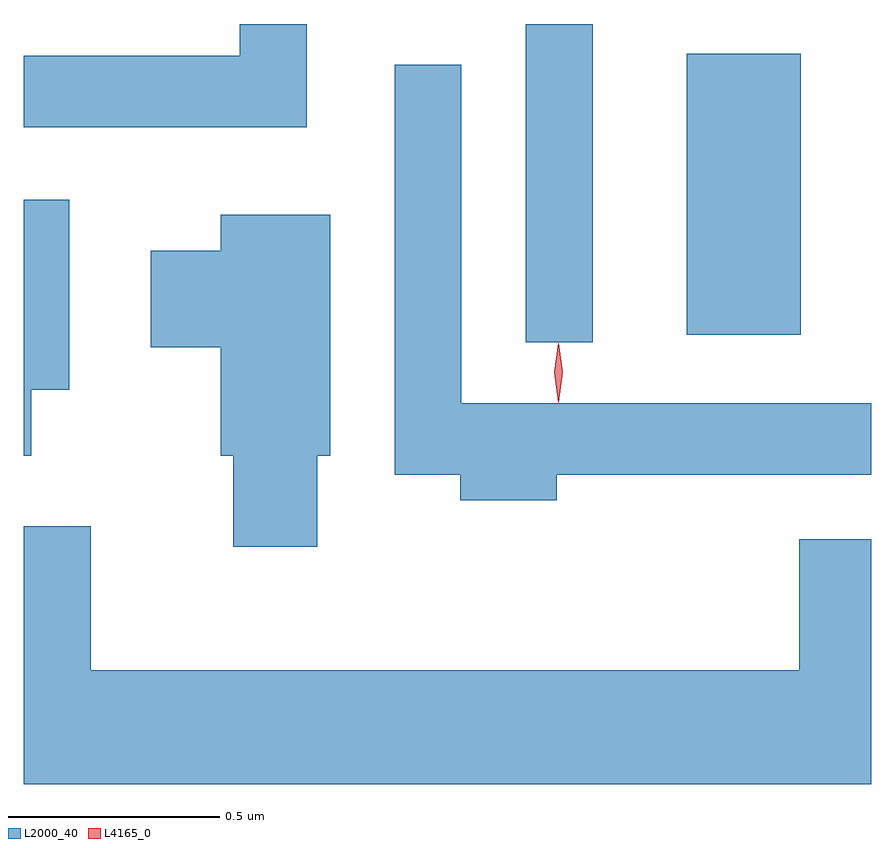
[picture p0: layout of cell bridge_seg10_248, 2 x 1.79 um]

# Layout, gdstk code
import gdstk
lib = gdstk.Library(unit=1e-6, precision=1e-09)
def R(c, l, rs):  # rectangles x0, y0, x1, y1
    for r in rs: c.add(gdstk.rectangle(r[:2], r[2:], *l))
def P(c, l, *ps):  # polygons
    for p in ps: c.add(gdstk.Polygon(p, *l))
L2000_40 = (2000, 40)
L4165_0 = (4165, 0)

bridge_seg10_248 = lib.new_cell('bridge_seg10_248')
R(bridge_seg10_248, L2000_40, [(1736.686,2094.978,1736.844,2095.729), (1737.066,2094.996,1737.334,2095.659)])
P(bridge_seg10_248, L2000_40, [(1736.169,2095.729),(1736.011,2095.729),(1736.011,2095.654),(1735.501,2095.654),(1735.501,2095.486),(1736.169,2095.486)],
  [(1736.759,2094.666),(1737.501,2094.666),(1737.501,2094.834),(1736.534,2094.834),(1736.534,2095.633),(1736.376,2095.633),(1736.376,2094.666),(1736.531,2094.666),(1736.531,2094.606),(1736.759,2094.606)],
  [(1735.519,2094.866),(1735.609,2094.866),(1735.609,2095.314),(1735.501,2095.314),(1735.501,2094.711),(1735.519,2094.711)],
  [(1736.194,2094.711),(1736.224,2094.711),(1736.224,2095.279),(1735.966,2095.279),(1735.966,2095.194),(1735.801,2095.194),(1735.801,2094.966),(1735.966,2094.966),(1735.966,2094.711),(1735.996,2094.711),(1735.996,2094.496),(1736.194,2094.496)],
  [(1737.501,2094.514),(1737.331,2094.514),(1737.331,2094.204),(1735.659,2094.204),(1735.659,2094.544),(1735.501,2094.544),(1735.501,2093.936),(1737.501,2093.936)])
P(bridge_seg10_248, L4165_0, [(1736.762,2094.837),(1736.753,2094.907),(1736.762,2094.976),(1736.763,2094.976),(1736.763,2094.976),(1736.773,2094.907),(1736.763,2094.837),(1736.763,2094.837)])

lib.write_gds('bridge_seg10_248.gds')
